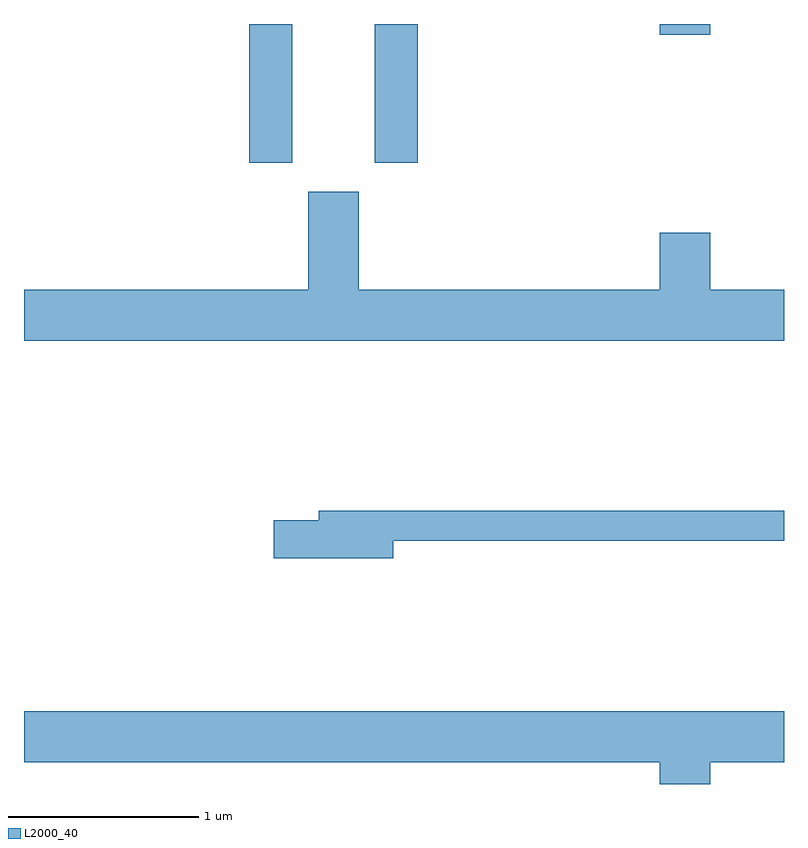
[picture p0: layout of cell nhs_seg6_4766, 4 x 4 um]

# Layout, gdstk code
import gdstk
lib = gdstk.Library(unit=1e-6, precision=1e-09)
def R(c, l, rs):  # rectangles x0, y0, x1, y1
    for r in rs: c.add(gdstk.rectangle(r[:2], r[2:], *l))
def P(c, l, *ps):  # polygons
    for p in ps: c.add(gdstk.Polygon(p, *l))
L2000_40 = (2000, 40)

nhs_seg6_4766 = lib.new_cell('nhs_seg6_4766')
R(nhs_seg6_4766, L2000_40, [(332.796,1535.431,333.024,1536.162), (333.456,1535.431,333.684,1536.162), (334.956,1536.106,335.224,1536.162)])
P(nhs_seg6_4766, L2000_40, [(335.611,1534.764),(335.224,1534.764),(335.224,1535.064),(334.956,1535.064),(334.956,1534.764),(333.374,1534.764),(333.374,1535.279),(333.106,1535.279),(333.106,1534.764),(331.611,1534.764),(331.611,1534.496),(335.611,1534.496)],
  [(333.554,1533.441),(335.611,1533.441),(335.611,1533.599),(333.161,1533.599),(333.161,1533.549),(332.926,1533.549),(332.926,1533.351),(333.554,1533.351)],
  [(335.224,1532.276),(335.611,1532.276),(335.611,1532.544),(331.611,1532.544),(331.611,1532.276),(334.956,1532.276),(334.956,1532.162),(335.224,1532.162)])

lib.write_gds('nhs_seg6_4766.gds')
